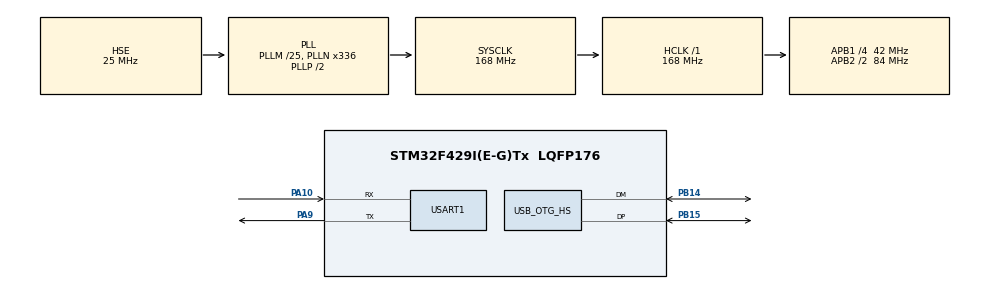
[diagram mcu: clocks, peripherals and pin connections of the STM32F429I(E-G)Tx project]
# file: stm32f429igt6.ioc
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Mcu.Family=STM32F4
Mcu.Name=STM32F429I(E-G)Tx
Mcu.Package=LQFP176
NVIC.OTG_HS_IRQn=true\:0\:0\:false\:false\:true\:true\:true
NVIC.PriorityGroup=NVIC_PRIORITYGROUP_4
PA10.Mode=Asynchronous
PA10.Signal=USART1_RX
PA13.Mode=Serial_Wire
PA13.Signal=SYS_JTMS-SWDIO
PA14.Mode=Serial_Wire
PA14.Signal=SYS_JTCK-SWCLK
PA9.Mode=Asynchronous
PA9.Signal=USART1_TX
PB14.Mode=Host_FS
PB14.Signal=USB_OTG_HS_DM
PB15.Mode=Host_FS
PB15.Signal=USB_OTG_HS_DP
PH0/OSC_IN.Mode=HSE-External-Oscillator
PH0/OSC_IN.Signal=RCC_OSC_IN
PH1/OSC_OUT.Mode=HSE-External-Oscillator
PH1/OSC_OUT.Signal=RCC_OSC_OUT
ProjectManager.HeapSize=0x200
ProjectManager.StackSize=0x400
ProjectManager.TargetToolchain=MDK-ARM V5.27
RCC.48MHZClocksFreq_Value=48000000
RCC.AHBFreq_Value=168000000
RCC.APB1CLKDivider=RCC_HCLK_DIV4
RCC.APB1Freq_Value=42000000
RCC.APB1TimFreq_Value=84000000
RCC.APB2CLKDivider=RCC_HCLK_DIV2
RCC.APB2Freq_Value=84000000
RCC.APB2TimFreq_Value=168000000
RCC.CortexFreq_Value=168000000
RCC.HCLKFreq_Value=168000000
RCC.HSE_VALUE=25000000
RCC.HSI_VALUE=16000000
RCC.LSE_VALUE=32768
RCC.PLLM=25
RCC.PLLN=336
RCC.PLLQ=7
RCC.SYSCLKFreq_VALUE=168000000
RCC.SYSCLKSource=RCC_SYSCLKSOURCE_PLLCLK
RCC.VCOOutputFreq_Value=336000000
USART1.VirtualMode=VM_ASYNC
USB_OTG_HS.VirtualMode-Host_FS=Host_FS
board=custom

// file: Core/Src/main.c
/* USER CODE BEGIN Header */
/**
  ******************************************************************************
  * @file           : main.c
  * @brief          : Main program body
  ******************************************************************************
  * @attention
  *
  * <h2><center>&copy; Copyright (c) 2022 STMicroelectronics.
  * All rights reserved.</center></h2>
  *
  * This software component is licensed by ST under BSD 3-Clause license,
  * the "License"; You may not use this file except in compliance with the
  * License. You may obtain a copy of the License at:
  *                        opensource.org/licenses/BSD-3-Clause
  *
  ******************************************************************************
  */
/* USER CODE END Header */
#include "main.h"

/* USER CODE BEGIN Includes */
#include "FreeRTOS.h"
#include "task.h"
#include "stdio.h"
#include "usbh_core.h"
/* USER CODE END Includes */

UART_HandleTypeDef huart1;

HCD_HandleTypeDef hhcd_USB_OTG_HS;

void SystemClock_Config(void);
static void MX_GPIO_Init(void);
static void MX_USART1_UART_Init(void);
static void MX_USB_OTG_HS_HCD_Init(void);

/* USER CODE BEGIN 0 */
int fputc(int ch, FILE *f)
{
  HAL_UART_Transmit(&huart1,(uint8_t*)&ch,1,1000);
  return ch;
}

void usb_hc_low_level_init(void)
{
    GPIO_InitTypeDef GPIO_InitStruct = {0};
    __HAL_RCC_GPIOB_CLK_ENABLE();
    /**USB_OTG_HS GPIO Configuration
    PB14     ------> USB_OTG_HS_DM
    PB15     ------> USB_OTG_HS_DP
    */
    GPIO_InitStruct.Pin = GPIO_PIN_14|GPIO_PIN_15;
    GPIO_InitStruct.Mode = GPIO_MODE_AF_PP;
    GPIO_InitStruct.Pull = GPIO_NOPULL;
    GPIO_InitStruct.Speed = GPIO_SPEED_FREQ_VERY_HIGH;
    GPIO_InitStruct.Alternate = GPIO_AF12_OTG_HS_FS;
    HAL_GPIO_Init(GPIOB, &GPIO_InitStruct);

    /* Peripheral clock enable */
    __HAL_RCC_USB_OTG_HS_CLK_ENABLE();
    /* USB_OTG_HS interrupt Init */
    HAL_NVIC_SetPriority(OTG_HS_IRQn, 0, 0);
    HAL_NVIC_EnableIRQ(OTG_HS_IRQn);
}
/* USER CODE END 0 */

int main(void)
{

  /* MCU Configuration--------------------------------------------------------*/

  /* Reset of all peripherals, Initializes the Flash interface and the Systick. */
  HAL_Init();

  /* Configure the system clock */
  SystemClock_Config();

  /* Initialize all configured peripherals */
  MX_GPIO_Init();
  MX_USART1_UART_Init();
  //MX_USB_OTG_HS_HCD_Init();
  /* USER CODE BEGIN 2 */
  printf("Start usb host task...\r\n");
  extern void usbh_class_test(void);
  usbh_initialize();
  usbh_class_test();
  vTaskStartScheduler();
  /* USER CODE END 2 */

  /* Infinite loop */
  while (1)
  {

  }
}

void SystemClock_Config(void)
{
  RCC_OscInitTypeDef RCC_OscInitStruct = {0};
  RCC_ClkInitTypeDef RCC_ClkInitStruct = {0};

  /** Configure the main internal regulator output voltage
  */
  __HAL_RCC_PWR_CLK_ENABLE();
  __HAL_PWR_VOLTAGESCALING_CONFIG(PWR_REGULATOR_VOLTAGE_SCALE1);
  /** Initializes the RCC Oscillators according to the specified parameters
  * in the RCC_OscInitTypeDef structure.
  */
  RCC_OscInitStruct.OscillatorType = RCC_OSCILLATORTYPE_HSE;
  RCC_OscInitStruct.HSEState = RCC_HSE_ON;
  RCC_OscInitStruct.PLL.PLLState = RCC_PLL_ON;
  RCC_OscInitStruct.PLL.PLLSource = RCC_PLLSOURCE_HSE;
  RCC_OscInitStruct.PLL.PLLM = 25;
  RCC_OscInitStruct.PLL.PLLN = 336;
  RCC_OscInitStruct.PLL.PLLP = RCC_PLLP_DIV2;
  RCC_OscInitStruct.PLL.PLLQ = 7;
  if (HAL_RCC_OscConfig(&RCC_OscInitStruct) != HAL_OK)
  {
    Error_Handler();
  }
  /** Initializes the CPU, AHB and APB buses clocks
  */
  RCC_ClkInitStruct.ClockType = RCC_CLOCKTYPE_HCLK|RCC_CLOCKTYPE_SYSCLK
                              |RCC_CLOCKTYPE_PCLK1|RCC_CLOCKTYPE_PCLK2;
  RCC_ClkInitStruct.SYSCLKSource = RCC_SYSCLKSOURCE_PLLCLK;
  RCC_ClkInitStruct.AHBCLKDivider = RCC_SYSCLK_DIV1;
  RCC_ClkInitStruct.APB1CLKDivider = RCC_HCLK_DIV4;
  RCC_ClkInitStruct.APB2CLKDivider = RCC_HCLK_DIV2;

  if (HAL_RCC_ClockConfig(&RCC_ClkInitStruct, FLASH_LATENCY_5) != HAL_OK)
  {
    Error_Handler();
  }
}

static void MX_USART1_UART_Init(void)
{

  huart1.Instance = USART1;
  huart1.Init.BaudRate = 115200;
  huart1.Init.WordLength = UART_WORDLENGTH_8B;
  huart1.Init.StopBits = UART_STOPBITS_1;
  huart1.Init.Parity = UART_PARITY_NONE;
  huart1.Init.Mode = UART_MODE_TX_RX;
  huart1.Init.HwFlowCtl = UART_HWCONTROL_NONE;
  huart1.Init.OverSampling = UART_OVERSAMPLING_16;
  if (HAL_UART_Init(&huart1) != HAL_OK)
  {
    Error_Handler();
  }

}

static void MX_USB_OTG_HS_HCD_Init(void)
{

  hhcd_USB_OTG_HS.Instance = USB_OTG_HS;
  hhcd_USB_OTG_HS.Init.Host_channels = 12;
  hhcd_USB_OTG_HS.Init.speed = HCD_SPEED_FULL;
  hhcd_USB_OTG_HS.Init.dma_enable = DISABLE;
  hhcd_USB_OTG_HS.Init.phy_itface = USB_OTG_EMBEDDED_PHY;
  hhcd_USB_OTG_HS.Init.Sof_enable = DISABLE;
  hhcd_USB_OTG_HS.Init.low_power_enable = DISABLE;
  hhcd_USB_OTG_HS.Init.vbus_sensing_enable = DISABLE;
  hhcd_USB_OTG_HS.Init.use_external_vbus = DISABLE;
  if (HAL_HCD_Init(&hhcd_USB_OTG_HS) != HAL_OK)
  {
    Error_Handler();
  }

}

static void MX_GPIO_Init(void)
{

  /* GPIO Ports Clock Enable */
  __HAL_RCC_GPIOH_CLK_ENABLE();
  __HAL_RCC_GPIOB_CLK_ENABLE();
  __HAL_RCC_GPIOA_CLK_ENABLE();

}

void Error_Handler(void)
{
  __disable_irq();
  while (1)
  {
  }
}

/************************ (C) COPYRIGHT STMicroelectronics *****END OF FILE****/
